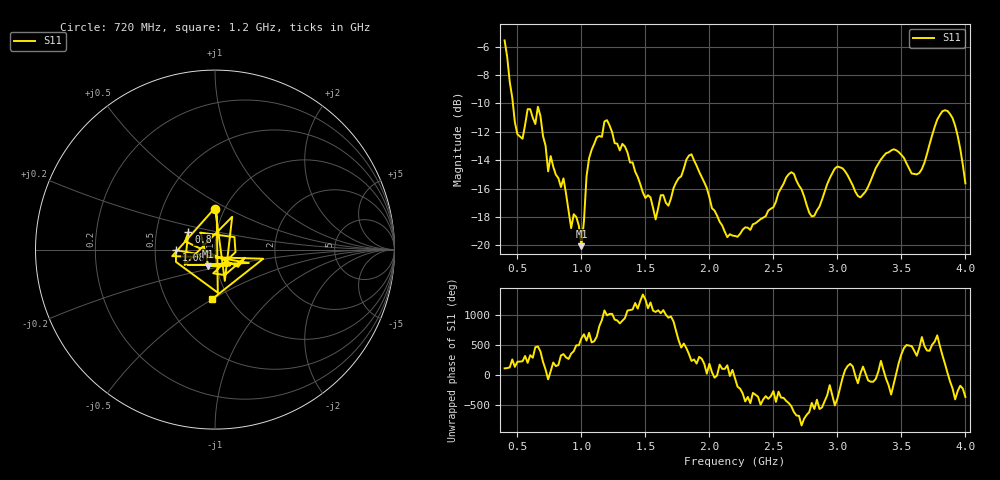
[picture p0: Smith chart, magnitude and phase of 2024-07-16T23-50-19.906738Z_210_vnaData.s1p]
!Created with skrf (http://scikit-rf.org).
# Hz S RI R 50.0
!freq ReS11 ImS11
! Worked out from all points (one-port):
!   181 points, 400 MHz to 4 GHz, reference 50 ohm
!   lowest |S11| = -20.1 dB at 1 GHz (marker M1), VSWR 1.22, Z = 45.7 - j8.51 ohm
!   |S11| at or under -10 dB: 464.7 MHz to end of sweep
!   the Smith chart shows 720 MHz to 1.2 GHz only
!   S11 on the Smith chart (normalised r, x): 720 MHz: 0.91, +0.43; 800 MHz: 0.73, +0.15; 1.08 GHz: 0.64, -0.00; 1.2 GHz: 0.83, -0.50
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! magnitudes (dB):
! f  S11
! 400 MHz  -5.6
! 500 MHz  -12.2
! 660 MHz  -10.2
! 720 MHz  -13.0
! 800 MHz  -15.0
! 860 MHz  -15.3
! 920 MHz  -18.8
! 960 MHz  -18.0
! 1 GHz  -20.1
! 1.04 GHz  -15.1
! 1.08 GHz  -13.3
! 1.2 GHz  -11.2
! 1.3 GHz  -13.3
! 1.58 GHz  -18.2
! 1.76 GHz  -15.3
! 1.86 GHz  -13.6
! 2.2 GHz  -19.3
! 2.66 GHz  -15.0
! 2.8 GHz  -18.0
! 2.98 GHz  -14.6
! 3.1 GHz  -15.4
! 3.18 GHz  -16.6
! 3.44 GHz  -13.2
! 3.56 GHz  -14.6
! 3.66 GHz  -14.6
! 3.84 GHz  -10.5
! 3.92 GHz  -11.6
! 4 GHz  -15.6
